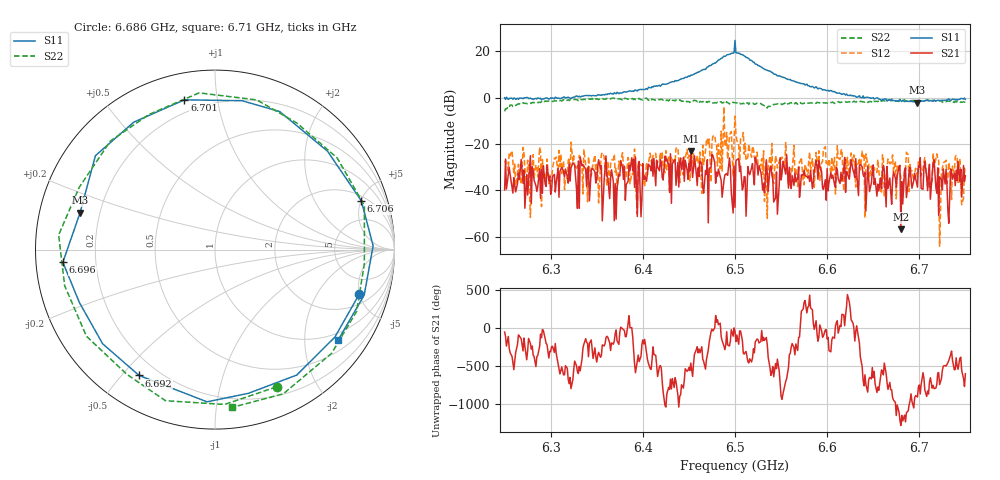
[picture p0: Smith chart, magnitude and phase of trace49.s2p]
# Hz S RI R 50
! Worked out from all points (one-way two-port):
!   401 points, 6.25 GHz to 6.75 GHz, reference 50 ohm
!   highest |S21| = -23.11 dB at 6.452 GHz (marker M1); lowest = -56.9 dB at 6.68 GHz (marker M2)
!   lowest |S11| = -2.2 dB at 6.698 GHz (marker M3), VSWR 8.06, Z = 6.31 + j6.59 ohm
!   |S11| at or under -10 dB: nowhere
!   |S22| runs from -5.9 to -0.1 dB; largest |S21 - S12| = 0.61
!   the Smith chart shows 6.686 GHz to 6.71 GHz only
!   S11 on the Smith chart (normalised r, x): 6.686 GHz: 2.90, -4.93; 6.692 GHz: 0.13, -0.56; 6.696 GHz: 0.08, -0.04; 6.701 GHz: 0.13, +0.81; 6.706 GHz: 2.42, +5.03; 6.71 GHz: 0.78, -2.85
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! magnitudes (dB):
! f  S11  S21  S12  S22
! 6.25 GHz  -0.1  -39.9  -28.0  -5.9
! 6.334 GHz  0.6  -29.5  -30.3  -0.9
! 6.37 GHz  1.9  -37.2  -32.2  -0.4
! 6.378 GHz  2.1  -30.1  -23.8  -0.9
! 6.396 GHz  3.4  -27.6  -28.1  -0.3
! 6.418 GHz  5.3  -31.6  -27.8  -0.9
! 6.452 GHz  9.7  -23.1  -23.8  -1.5
! 6.5 GHz  24.7  -47.4  -8.0  -2.2
! 6.532 GHz  12.2  -41.1  -44.8  -3.6
! 6.584 GHz  4.9  -39.3  -26.4  -2.3
! 6.668 GHz  -0.9  -34.8  -28.5  -1.1
! 6.68 GHz  -1.4  -56.9  -34.5  -1.2
! 6.686 GHz  -1.5  -43.2  -23.6  -1.5
! 6.692 GHz  -1.7  -39.1  -31.6  -1.3
! 6.696 GHz  -1.4  -34.8  -30.5  -1.5
! 6.698 GHz  -2.2  -38.7  -34.3  -1.5
! 6.701 GHz  -1.4  -25.9  -27.2  -1.5
! 6.706 GHz  -1.3  -27.4  -25.9  -1.3
! 6.71 GHz  -1.4  -33.0  -36.0  -1.1
! 6.718 GHz  -1.4  -39.0  -26.4  -1.5
! 6.722 GHz  -1.4  -34.3  -64.2  -1.4
! 6.75 GHz  -0.7  -33.8  -34.1  -2.0
